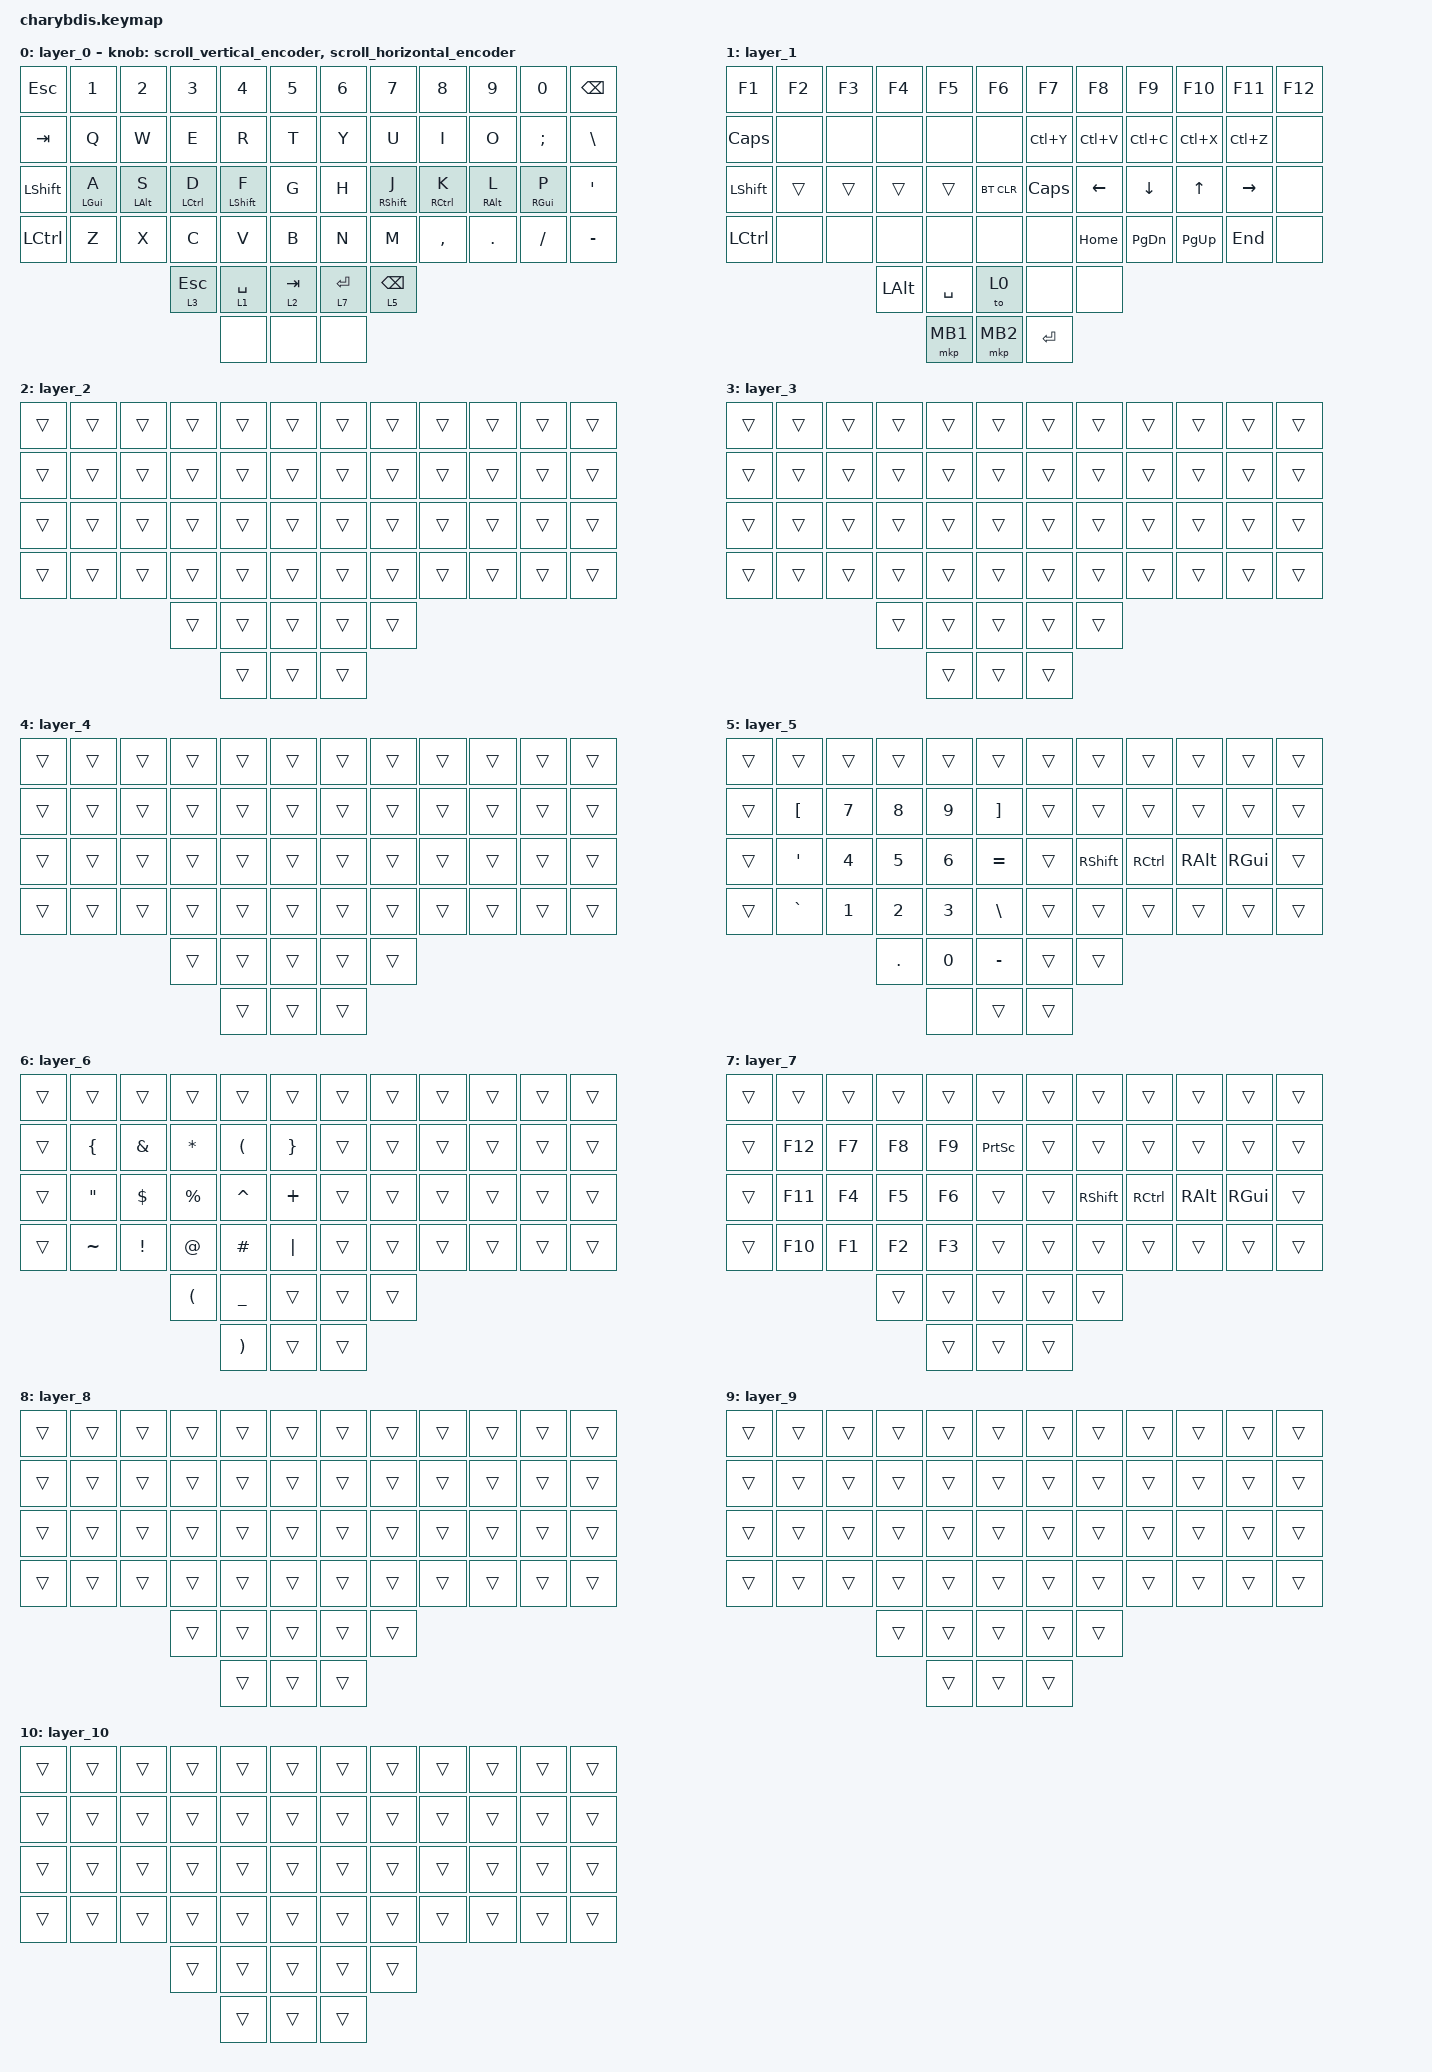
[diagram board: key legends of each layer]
#include <dt-bindings/zmk/mouse.h>
#include <input/processors.dtsi>
#include <zephyr/dt-bindings/input/input-event-codes.h>
#include <behaviors.dtsi>
#include <dt-bindings/zmk/bt.h>
#include <dt-bindings/zmk/keys.h>
#include <dt-bindings/zmk/pointing.h>
#include <dt-bindings/zmk/rgb.h>

#define ZMK_POINTING_DEFAULT_MOVE_VAL 1000 // 600
#define ZMK_POINTING_DEFAULT_SCRL_VAL 12   // 10

&lt {
    tapping-term-ms = <200>;
    flavor = "balanced";
    quick-tap-ms = <150>;
};

&mmv_input_listener { input-processors = <&zip_xy_scaler 2 1>; };

&msc_input_listener { input-processors = <&zip_scroll_scaler 2 1>; };

&msc {
    acceleration-exponent = <0>;      // 0
    time-to-max-speed-ms = <100>;       // 300
    delay-ms = <0>;                   // 0
};

&mmv {
    time-to-max-speed-ms = <500>;
    acceleration-exponent = <1>;
    trigger-period-ms = <16>;
};

/ {
    // 上下滚动编码器行为

    scroll_vertical_encoder: scroll_vertical_encoder {
        compatible = "zmk,behavior-sensor-rotate";
        #sensor-binding-cells = <0>;
        bindings = <&msc SCRL_DOWN>, <&msc SCRL_UP>;

        tap-ms = <100>;
    };

    // 左右滚动编码器行为

    scroll_horizontal_encoder: scroll_horizontal_encoder {
        compatible = "zmk,behavior-sensor-rotate";
        #sensor-binding-cells = <0>;
        bindings = <&msc SCRL_LEFT>, <&msc SCRL_RIGHT>;

        tap-ms = <100>;
    };

    hm: hm {
        compatible = "zmk,behavior-hold-tap";
        label = "HM";
        bindings = <&kp>, <&kp>;

        #binding-cells = <2>;
        tapping-term-ms = <200>;
        quick-tap-ms = <130>;
        flavor = "tap-preferred";
    };

    behaviors {
    };

    macros {
        To1_macro: To1_macro {
            compatible = "zmk,behavior-macro";
            label = "To1_macro";
            #binding-cells = <0>;
            bindings = <&rgb_ug RGB_EFF &rgb_ug RGB_COLOR_HSB(128,100,50) &to 1>;
        };

        To1_macro_A: To1_macro_A {
            compatible = "zmk,behavior-macro";
            label = "To1_macro_A";
            #binding-cells = <0>;
            bindings = <&rgb_ug RGB_COLOR_HSB(128,100,50) &to 1>;
        };

        To0_macro: To0_macro {
            compatible = "zmk,behavior-macro";
            label = "To0_macro";
            #binding-cells = <0>;
            bindings = <&rgb_ug RGB_EFR &to 0>;
        };

        To2_macro_A: To2_macro_A {
            compatible = "zmk,behavior-macro";
            label = "To2_macro_A";
            #binding-cells = <0>;
            bindings = <&rgb_ug RGB_COLOR_HSB(250,100,50) &to 2>;
        };

        To2_macro: To2_macro {
            compatible = "zmk,behavior-macro";
            label = "To2_macro";
            #binding-cells = <0>;
            bindings = <&rgb_ug RGB_EFF &rgb_ug RGB_COLOR_HSB(250,100,50) &to 2>;
        };
    };

    combos {
        compatible = "zmk,combos";

        lang {
            bindings = <&kp LS(LANG_HANGEUL)>;
            key-positions = <32 33>;
        };

        ComboLCLK {
            bindings = <&mkp LCLK>;
            key-positions = <27 28>;
        };

        ComboRCLK {
            bindings = <&mkp RCLK>;
            key-positions = <28 26>;
        };

        ComboEnter {
            bindings = <&kp ENTER>;
            key-positions = <31 32>;
        };

        ComboDelete {
            bindings = <&kp DELETE>;
            key-positions = <51 52>;
        };

        bluetooth {
            bindings = <&bt BT_NXT>;
            key-positions = <14 13>;
        };
    };

    keymap {
        compatible = "zmk,keymap";

        layer_0 {
            bindings = <
&kp ESC         &kp N1          &kp N2          &kp N3       &kp N4            &kp N5       &kp N6       &kp N7             &kp N8       &kp N9           &kp N0           &kp BACKSPACE
&kp TAB         &kp Q           &kp W           &kp E        &kp R             &kp T        &kp Y        &kp U              &kp I        &kp O            &kp SEMICOLON    &kp BSLH
&kp LEFT_SHIFT  &hm LEFT_GUI A  &hm LEFT_ALT S  &hm LCTRL D  &hm LEFT_SHIFT F  &kp G        &kp H        &hm RIGHT_SHIFT J  &hm RCTRL K  &hm RIGHT_ALT L  &hm RIGHT_GUI P  &kp SQT
&kp LCTRL       &kp Z           &kp X           &kp C        &kp V             &kp B        &kp N        &kp M              &kp COMMA    &kp PERIOD       &kp FSLH         &kp MINUS
                                                &lt 3 ESC    &lt 1 SPACE       &lt 2 TAB    &lt 7 ENTER  &lt 5 BACKSPACE
                                                             &none             &none        &none
            >;

            sensor-bindings =
                <&scroll_vertical_encoder>,
                // 编码器1：上下滚动,,,,,,,,,,,,,,,,,,,,,
                <&scroll_horizontal_encoder>;

            // 编码器2：左右滚动
        };

        layer_1 {
            bindings = <
&kp F1          &kp F2  &kp F3  &kp F4        &kp F5     &kp F6        &kp F7        &kp F8     &kp F9         &kp F10       &kp F11          &kp F12
&kp CAPS        &none   &none   &none         &none      &none         &kp LC(Y)     &kp LC(V)  &kp LC(C)      &kp LC(X)     &kp LC(Z)        &none
&kp LEFT_SHIFT  &trans  &trans  &trans        &trans     &bt BT_CLR    &kp CAPSLOCK  &kp LEFT   &kp DOWN       &kp UP_ARROW  &kp RIGHT_ARROW  &none
&kp LCTRL       &none   &none   &none         &none      &none         &none         &kp HOME   &kp PAGE_DOWN  &kp PAGE_UP   &kp END          &none
                                &kp LEFT_ALT  &kp SPACE  &to 0         &none         &none
                                              &mkp MB1   &mkp MB2      &kp ENTER
            >;
        };

        layer_2 {
            bindings = <
&trans  &trans  &trans  &trans  &trans  &trans    &trans  &trans  &trans  &trans  &trans  &trans
&trans  &trans  &trans  &trans  &trans  &trans    &trans  &trans  &trans  &trans  &trans  &trans
&trans  &trans  &trans  &trans  &trans  &trans    &trans  &trans  &trans  &trans  &trans  &trans
&trans  &trans  &trans  &trans  &trans  &trans    &trans  &trans  &trans  &trans  &trans  &trans
                        &trans  &trans  &trans    &trans  &trans
                                &trans  &trans    &trans
            >;
        };

        layer_3 {
            bindings = <
&trans  &trans  &trans  &trans  &trans  &trans    &trans  &trans  &trans  &trans  &trans  &trans
&trans  &trans  &trans  &trans  &trans  &trans    &trans  &trans  &trans  &trans  &trans  &trans
&trans  &trans  &trans  &trans  &trans  &trans    &trans  &trans  &trans  &trans  &trans  &trans
&trans  &trans  &trans  &trans  &trans  &trans    &trans  &trans  &trans  &trans  &trans  &trans
                        &trans  &trans  &trans    &trans  &trans
                                &trans  &trans    &trans
            >;
        };

        layer_4 {
            bindings = <
&trans  &trans  &trans  &trans  &trans  &trans    &trans  &trans  &trans  &trans  &trans  &trans
&trans  &trans  &trans  &trans  &trans  &trans    &trans  &trans  &trans  &trans  &trans  &trans
&trans  &trans  &trans  &trans  &trans  &trans    &trans  &trans  &trans  &trans  &trans  &trans
&trans  &trans  &trans  &trans  &trans  &trans    &trans  &trans  &trans  &trans  &trans  &trans
                        &trans  &trans  &trans    &trans  &trans
                                &trans  &trans    &trans
            >;
        };

        layer_5 {
            bindings = <
&trans  &trans            &trans        &trans        &trans        &trans               &trans  &trans           &trans     &trans         &trans         &trans
&trans  &kp LEFT_BRACKET  &kp N7        &kp NUMBER_8  &kp NUMBER_9  &kp RIGHT_BRACKET    &trans  &trans           &trans     &trans         &trans         &trans
&trans  &kp SQT           &kp NUMBER_4  &kp N5        &kp NUMBER_6  &kp EQUAL            &trans  &kp RIGHT_SHIFT  &kp RCTRL  &kp RIGHT_ALT  &kp RIGHT_GUI  &trans
&trans  &kp GRAVE         &kp NUMBER_1  &kp NUMBER_2  &kp NUMBER_3  &kp BACKSLASH        &trans  &trans           &trans     &trans         &trans         &trans
                                        &kp PERIOD    &kp NUMBER_0  &kp MINUS            &trans  &trans
                                                      &none         &trans               &trans
            >;
        };

        layer_6 {
            bindings = <
&trans  &trans             &trans           &trans                &trans                 &trans             &trans  &trans  &trans  &trans  &trans  &trans
&trans  &kp LEFT_BRACE     &kp AMPERSAND    &kp ASTERISK          &kp LEFT_PARENTHESIS   &kp RIGHT_BRACE    &trans  &trans  &trans  &trans  &trans  &trans
&trans  &kp DOUBLE_QUOTES  &kp DOLLAR       &kp PERCENT           &kp CARET              &kp PLUS           &trans  &trans  &trans  &trans  &trans  &trans
&trans  &kp TILDE          &kp EXCLAMATION  &kp AT_SIGN           &kp HASH               &kp PIPE           &trans  &trans  &trans  &trans  &trans  &trans
                                            &kp LEFT_PARENTHESIS  &kp UNDERSCORE         &trans             &trans  &trans
                                                                  &kp RIGHT_PARENTHESIS  &trans             &trans
            >;
        };

        layer_7 {
            bindings = <
&trans  &trans   &trans  &trans  &trans  &trans             &trans  &trans           &trans     &trans         &trans    &trans
&trans  &kp F12  &kp F7  &kp F8  &kp F9  &kp PRINTSCREEN    &trans  &trans           &trans     &trans         &trans    &trans
&trans  &kp F11  &kp F4  &kp F5  &kp F6  &trans             &trans  &kp RIGHT_SHIFT  &kp RCTRL  &kp RIGHT_ALT  &kp RGUI  &trans
&trans  &kp F10  &kp F1  &kp F2  &kp F3  &trans             &trans  &trans           &trans     &trans         &trans    &trans
                         &trans  &trans  &trans             &trans  &trans
                                 &trans  &trans             &trans
            >;
        };

        layer_8 {
            bindings = <
&trans  &trans  &trans  &trans  &trans  &trans    &trans  &trans  &trans  &trans  &trans  &trans
&trans  &trans  &trans  &trans  &trans  &trans    &trans  &trans  &trans  &trans  &trans  &trans
&trans  &trans  &trans  &trans  &trans  &trans    &trans  &trans  &trans  &trans  &trans  &trans
&trans  &trans  &trans  &trans  &trans  &trans    &trans  &trans  &trans  &trans  &trans  &trans
                        &trans  &trans  &trans    &trans  &trans
                                &trans  &trans    &trans
            >;
        };

        layer_9 {
            bindings = <
&trans  &trans  &trans  &trans  &trans  &trans    &trans  &trans  &trans  &trans  &trans  &trans
&trans  &trans  &trans  &trans  &trans  &trans    &trans  &trans  &trans  &trans  &trans  &trans
&trans  &trans  &trans  &trans  &trans  &trans    &trans  &trans  &trans  &trans  &trans  &trans
&trans  &trans  &trans  &trans  &trans  &trans    &trans  &trans  &trans  &trans  &trans  &trans
                        &trans  &trans  &trans    &trans  &trans
                                &trans  &trans    &trans
            >;
        };

        layer_10 {
            bindings = <
&trans  &trans  &trans  &trans  &trans  &trans    &trans  &trans  &trans  &trans  &trans  &trans
&trans  &trans  &trans  &trans  &trans  &trans    &trans  &trans  &trans  &trans  &trans  &trans
&trans  &trans  &trans  &trans  &trans  &trans    &trans  &trans  &trans  &trans  &trans  &trans
&trans  &trans  &trans  &trans  &trans  &trans    &trans  &trans  &trans  &trans  &trans  &trans
                        &trans  &trans  &trans    &trans  &trans
                                &trans  &trans    &trans
            >;
        };

        /* layer_2 {
            bindings = <
&none  &none   &none    &none   &none         &none         &kp N1         &none         &none     &none  &none   &to 0
&none  &none   &none    &none   &none         &none         &none         &none          &rgb_ug RGB_BRD &rgb_ug RGB_BRI  &rgb_ug RGB_EFF   &rgb_ug RGB_TOG
&none  &none   &none    &none   &none         &none         &none         &mkp LCLK     &mkp RCLK  &none  &none   &none
&none  &none   &none    &none   &bt BT_NXT  &bt BT_CLR    &none         &none         &none     &none  &none   &none
                                   &none         &none         &none         &none         &none
                                                 &none         &none         &none
            >;
       
            
        };

       Mouse {
            bindings = <
&none        &none         &none         &none         &none      &none         &none       &none      &none         &none         &none         &none
&none        &bt BT_SEL 0  &bt BT_SEL 1  &bt BT_SEL 3  &none      &bt BT_CLR    &bt BT_CLR  &none      &bt BT_SEL 2  &bt BT_SEL 1  &bt BT_SEL 0  &none
&none        &trans        &trans        &mkp MCLK     &trans     &none         &none       &trans     &mkp MCLK     &trans        &trans        &none
&bootloader  &trans        &mkp RCLK     &mo 4         &mkp LCLK  &mo 5         &mo 5       &mkp LCLK  &mo 4         &mkp RCLK     &trans        &bootloader
                                         &mo 5         &mkp LCLK  &mkp RCLK     &mkp RCLK   &mkp LCLK
                                                       &none      &trans        &trans
            >;

            
        };

        layer_4 {
            bindings = <
&trans  &trans  &trans     &trans     &trans     &trans       &trans     &trans     &trans     &trans     &trans  &trans
&trans  &trans  &trans     &trans     &trans     &trans       &trans     &trans     &trans     &trans     &trans  &trans
&trans  &trans  &trans     &mkp MCLK  &trans     &trans       &trans     &trans     &mkp MCLK  &trans     &trans  &trans
&trans  &trans  &mkp RCLK  &trans     &mkp LCLK  &trans       &trans     &mkp LCLK  &trans     &mkp RCLK  &trans  &trans
                           &trans     &mkp LCLK  &mkp RCLK    &mkp RCLK  &mkp LCLK
                                      &trans     &trans       &trans
            >;
                
                
               
        };

        layer_5 {
            bindings = <
&trans  &trans  &trans     &trans     &trans     &trans       &trans     &trans     &trans     &trans     &trans  &trans
&trans  &trans  &trans     &trans     &trans     &trans       &trans     &trans     &trans     &trans     &trans  &trans
&trans  &trans  &trans     &mkp MCLK  &trans     &trans       &trans     &trans     &mkp MCLK  &trans     &trans  &trans
&trans  &trans  &mkp RCLK  &trans     &mkp LCLK  &trans       &trans     &mkp LCLK  &trans     &mkp RCLK  &trans  &trans
                           &trans     &mkp LCLK  &mkp RCLK    &mkp RCLK  &mkp LCLK
                                      &trans     &trans       &trans
            >;
                
                
        };*/
    };
};
